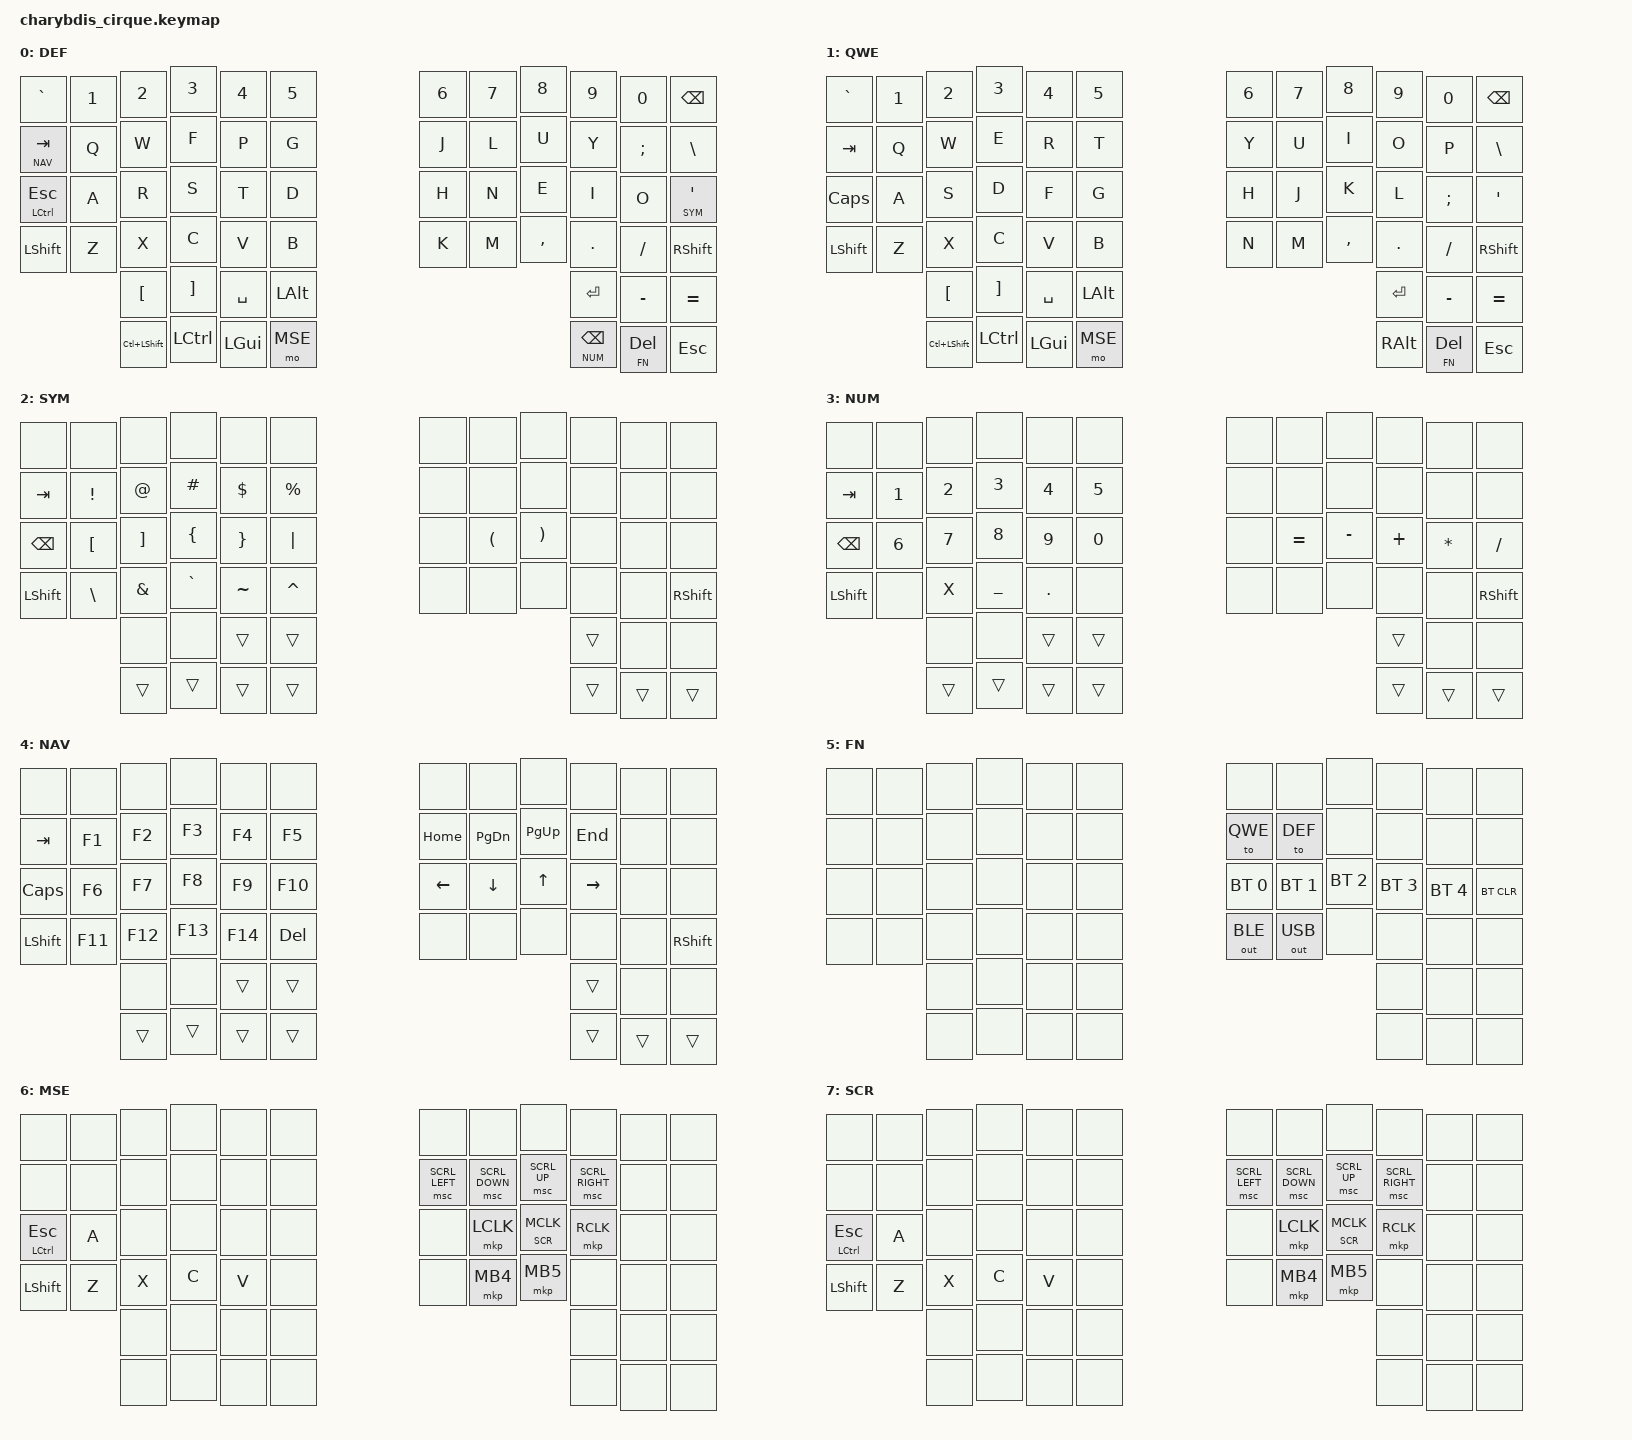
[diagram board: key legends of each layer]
#include <behaviors.dtsi>
#include <dt-bindings/zmk/keys.h>
#include <dt-bindings/zmk/bt.h>
#include <dt-bindings/zmk/outputs.h>

#include <behaviors/mouse_keys.dtsi>
#include <behaviors/mouse_move.dtsi>
#include <dt-bindings/zmk/mouse.h>
#include <input/processors.dtsi>


#define DEF 0
#define QWE 1
#define SYM 2
#define NUM 3
#define NAV 4
#define FN  5
#define MSE 6
#define SCR 7

#define AS(keycode) &as LS(keycode) keycode

/ {
  mouse_listener {
    input-processors = <&zip_xy_scaler 3 2>, <&zip_temp_layer MSE 300>;

    scroller {
      layers = <SCR>;
      input-processors = <&zip_xy_scaler 1 3>, <&zip_xy_to_scroll_mapper>;
    };

    fine {
      layers = <NAV>;
      input-processors = <&zip_xy_scaler 1 3>;
    };
  };

  behaviors {
    ltm: layer_tap_mouse {
      compatible = "zmk,behavior-hold-tap";
      #binding-cells = <2>;
      flavor = "tap-preferred";
      tapping-term-ms = <200>;
      bindings = <&mo>, <&mkp>;
      display-name = "Layer-Tap";
    };
  };

  keymap {
    compatible = "zmk,keymap";
    default_layer {
      label = "DEF";
      bindings = <
&kp GRAVE     &kp N1   &kp N2   &kp N3   &kp N4   &kp N5    &kp N6   &kp N7   &kp N8    &kp N9   &kp N0    &kp BSPC
&lt NAV TAB   &kp Q    &kp W    &kp F    &kp P    &kp G     &kp J    &kp L    &kp U     &kp Y    &kp SEMI  &kp BSLH
&mt LCTRL ESC &kp A    &kp R    &kp S    &kp T    &kp D     &kp H    &kp N    &kp E     &kp I    &kp O     &lt SYM SQT
&kp LSHIFT    &kp Z    &kp X    &kp C    &kp V    &kp B     &kp K    &kp M    &kp COMMA &kp DOT  &kp FSLH  &kp RSHIFT
              &kp LBKT   &kp RBKT   &kp SPACE  &kp LALT              &kp ENTER  &kp MINUS  &kp EQUAL
              &kp LC(LSHIFT) &kp LCTRL &kp LGUI &mo MSE              &lt NUM BSPC &lt FN DEL &kp ESC
      >;
    };

    qwerty_layer {
      label = "QWE";
      bindings = <
&kp GRAVE  &kp N1   &kp N2   &kp N3   &kp N4   &kp N5       &kp N6   &kp N7   &kp N8    &kp N9   &kp N0    &kp BSPC
&kp TAB    &kp Q    &kp W    &kp E    &kp R    &kp T        &kp Y    &kp U    &kp I     &kp O    &kp P     &kp BSLH
&kp CAPS   &kp A    &kp S    &kp D    &kp F    &kp G        &kp H    &kp J    &kp K     &kp L    &kp SEMI  &kp SQT
&kp LSHIFT &kp Z    &kp X    &kp C    &kp V    &kp B        &kp N    &kp M    &kp COMMA &kp DOT  &kp FSLH  &kp RSHIFT
                &kp LBKT   &kp RBKT   &kp SPACE  &kp LALT            &kp ENTER  &kp MINUS  &kp EQUAL
                &kp LC(LSHIFT) &kp LCTRL &kp LGUI &mo MSE            &kp RALT   &lt FN DEL &kp ESC
      >;
    };

    symbol_layer {
      label = "SYM";
      bindings = <
&none      &none    &none    &none    &none    &none         &none    &none    &none    &none    &none    &none
&kp TAB    &kp EXCL &kp AT   &kp POUND &kp DLLR  &kp PRCNT   &none    &none    &none    &none    &none    &none
&kp BSPC   &kp LBKT &kp RBKT &kp LBRC  &kp RBRC  &kp PIPE    &none    &kp LPAR &kp RPAR &none    &none    &none
&kp LSHIFT &kp BSLH &kp AMPS &kp GRAVE &kp TILDE &kp CARET   &none    &none    &none    &none    &none    &kp RSHIFT
                    &none   &none   &trans  &trans           &trans  &none  &none
                    &trans  &trans  &trans  &trans           &trans  &trans &trans
      >;
    };

    num_layer {
      label = "NUM";
      bindings = <
&none      &none    &none    &none    &none    &none        &none    &none    &none     &none    &none     &none
&kp TAB    &kp N1   &kp N2   &kp N3   &kp N4   &kp N5       &none    &none    &none     &none    &none     &none
&kp BSPC   &kp N6   &kp N7   &kp N8   &kp N9   &kp N0       &none    &kp EQUAL &kp MINUS &kp PLUS &kp STAR &kp FSLH
&kp LSHIFT &none    &kp X    &kp UNDER &kp DOT &none        &none    &none    &none     &none    &none     &kp RSHIFT
                    &none   &none   &trans  &trans          &trans  &none  &none
                    &trans  &trans  &trans  &trans          &trans  &trans &trans
      >;
    };

    nav_layer {
      label = "NAV";
      bindings = <
&none      &none    &none    &none    &none    &none        &none    &none    &none     &none    &none     &none
&kp TAB    &kp F1   &kp F2   &kp F3   &kp F4   &kp F5       &kp HOME &kp PG_DN &kp PG_UP &kp END  &none    &none
&kp CAPS   &kp F6   &kp F7   &kp F8   &kp F9   &kp F10      &kp LEFT &kp DOWN  &kp UP    &kp RIGHT  &none  &none
&kp LSHIFT &kp F11  &kp F12  &kp F13  &kp F14  &kp DEL      &none    &none    &none     &none    &none     &kp RSHIFT
                    &none   &none   &trans  &trans          &trans  &none  &none
                    &trans  &trans  &trans  &trans          &trans  &trans &trans
      >;
    };

    fn_layer {
      label = "FN";
      bindings = <
&none    &none    &none   &none   &none   &none         &none   &none   &none   &none   &none   &none
&none    &none    &none   &none   &none   &none         &to QWE &to DEF &none   &none   &none   &none
&none    &none    &none   &none   &none   &none         &bt BT_SEL 0 &bt BT_SEL 1 &bt BT_SEL 2 &bt BT_SEL 3 &bt BT_SEL 4 &bt BT_CLR
&none    &none    &none   &none   &none   &none         &out OUT_BLE &out OUT_USB &none &none &none &none
                  &none   &none   &none   &none                 &none   &none   &none
                  &none   &none   &none   &none                 &none   &none   &none
      >;
    };

    mouse_layer {
      label = "MSE";
      bindings = <
&none    &none    &none   &none   &none   &none        &none   &none    &none    &none    &none    &none
&none    &none    &none   &none   &none   &none        &msc SCRL_LEFT &msc SCRL_DOWN &msc SCRL_UP &msc SCRL_RIGHT    &none  &none
&mt LCTRL ESC &kp A &none &none   &none   &none        &none   &mkp LCLK &ltm SCR MCLK &mkp RCLK   &none  &none
&kp LSHIFT    &kp Z &kp X &kp C   &kp V   &none        &none   &mkp MB4  &mkp MB5 &none    &none    &none
                  &none   &none   &none   &none                &none    &none   &none
                  &none   &none   &none   &none                &none    &none    &none
      >;
    };

    scroll_layer {
      label = "SCR";
      bindings = <
&none    &none    &none   &none   &none   &none        &none   &none    &none    &none    &none    &none
&none    &none    &none   &none   &none   &none        &msc SCRL_LEFT &msc SCRL_DOWN &msc SCRL_UP &msc SCRL_RIGHT    &none  &none
&mt LCTRL ESC &kp A &none &none   &none   &none        &none   &mkp LCLK &ltm SCR MCLK &mkp RCLK   &none  &none
&kp LSHIFT    &kp Z &kp X &kp C   &kp V   &none        &none   &mkp MB4  &mkp MB5 &none    &none    &none
                  &none   &none   &none   &none                &none    &none   &none
                  &none   &none   &none   &none                &none    &none    &none
      >;
    };
   };
};
